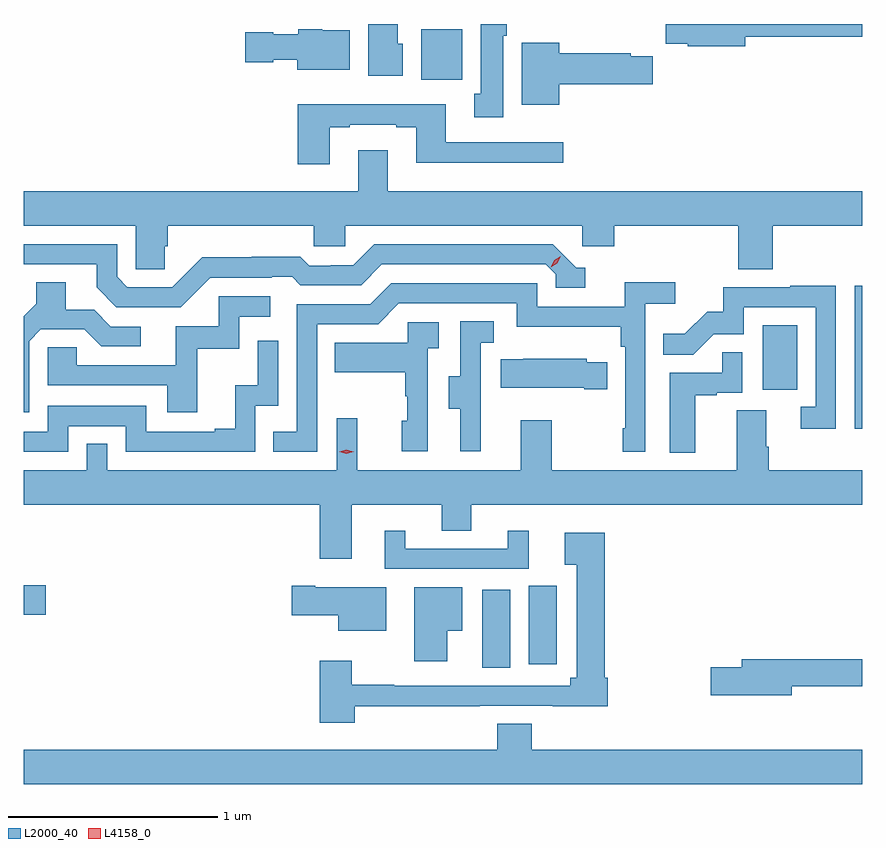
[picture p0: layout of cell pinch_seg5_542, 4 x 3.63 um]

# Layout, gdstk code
import gdstk
lib = gdstk.Library(unit=1e-6, precision=1e-09)
def R(c, l, rs):  # rectangles x0, y0, x1, y1
    for r in rs: c.add(gdstk.rectangle(r[:2], r[2:], *l))
def P(c, l, *ps):  # polygons
    for p in ps: c.add(gdstk.Polygon(p, *l))
L2000_40 = (2000, 40)
L4158_0 = (4158, 0)

pinch_seg5_542 = lib.new_cell('pinch_seg5_542')
R(pinch_seg5_542, L2000_40, [(951.014,842.662,951.148,843.034), (951.236,842.679,951.37,843.054), (948.827,842.915,948.931,843.057), (952.791,843.804,952.827,844.484), (952.352,843.99,952.516,844.297), (950.723,845.468,950.92,845.71)])
P(pinch_seg5_542, L2000_40, [(951.115,845.678),(951.13,845.678),(951.13,845.734),(951.008,845.734),(951.008,845.402),(950.975,845.402),(950.975,845.289),(951.115,845.289)],
  [(950.635,845.64),(950.611,845.64),(950.611,845.734),(950.471,845.734),(950.471,845.486),(950.635,845.486)],
  [(952.27,845.674),(952.827,845.674),(952.827,845.734),(951.889,845.734),(951.889,845.639),(951.994,845.639),(951.994,845.627),(952.27,845.627)],
  [(950.383,845.704),(950.25,845.704),(950.25,845.71),(950.136,845.71),(950.136,845.686),(950.016,845.686),(950.016,845.694),(949.884,845.694),(949.884,845.552),(950.016,845.552),(950.016,845.564),(950.132,845.564),(950.132,845.516),(950.383,845.516)],
  [(951.382,845.447),(951.827,845.447),(951.827,845.581),(951.722,845.581),(951.722,845.594),(951.382,845.594),(951.382,845.644),(951.203,845.644),(951.203,845.348),(951.382,845.348)],
  [(950.287,845.241),(950.383,845.241),(950.383,845.253),(950.603,845.253),(950.603,845.241),(950.699,845.241),(950.699,845.072),(951.4,845.072),(951.4,845.169),(950.839,845.169),(950.839,845.35),(950.135,845.35),(950.135,845.064),(950.287,845.064)],
  [(949.499,844.674),(949.514,844.674),(949.514,844.772),(950.211,844.772),(950.211,844.674),(950.361,844.674),(950.361,844.772),(951.492,844.772),(951.492,844.674),(951.644,844.674),(951.644,844.772),(952.235,844.772),(952.235,844.564),(952.4,844.564),(952.4,844.772),(952.827,844.772),(952.827,844.936),(950.563,844.936),(950.563,845.131),(950.423,845.131),(950.423,844.936),(948.827,844.936),(948.827,844.772),(949.362,844.772),(949.362,844.564),(949.499,844.564)],
  [(949.716,844.524),(950.009,844.524),(950.009,844.527),(950.108,844.527),(950.147,844.488),(950.436,844.488),(950.535,844.587),(951.318,844.587),(951.366,844.539),(951.366,844.476),(951.505,844.476),(951.505,844.572),(951.462,844.572),(951.351,844.683),(950.498,844.683),(950.399,844.584),(950.292,844.584),(950.292,844.581),(950.189,844.581),(950.147,844.624),(949.914,844.624),(949.914,844.621),(949.678,844.621),(949.536,844.479),(949.32,844.479),(949.272,844.527),(949.272,844.683),(948.827,844.683),(948.827,844.587),(949.175,844.587),(949.175,844.477),(949.269,844.383),(949.575,844.383)],
  [(948.852,844.221),(948.909,844.278),(949.115,844.278),(949.196,844.197),(949.384,844.197),(949.384,844.29),(949.242,844.29),(949.162,844.37),(949.027,844.37),(949.027,844.502),(948.887,844.502),(948.887,844.4),(948.827,844.34),(948.827,843.882),(948.852,843.882)],
  [(950.226,844.302),(950.517,844.302),(950.616,844.401),(951.18,844.401),(951.18,844.289),(951.676,844.289),(951.676,844.193),(951.696,844.193),(951.696,843.805),(951.684,843.805),(951.684,843.693),(951.792,843.693),(951.792,844.4),(951.934,844.4),(951.934,844.502),(951.695,844.502),(951.695,844.386),(951.276,844.386),(951.276,844.497),(950.579,844.497),(950.48,844.398),(950.13,844.398),(950.13,843.789),(950.017,843.789),(950.017,843.693),(950.226,843.693)],
  [(952.701,844.484),(952.483,844.484),(952.483,844.479),(952.165,844.479),(952.165,844.362),(952.088,844.362),(951.981,844.255),(951.877,844.255),(951.877,844.156),(952.02,844.156),(952.118,844.254),(952.263,844.254),(952.263,844.383),(952.605,844.383),(952.605,843.909),(952.533,843.909),(952.533,843.804),(952.701,843.804)],
  [(949.655,844.185),(949.854,844.185),(949.854,844.338),(950.002,844.338),(950.002,844.434),(949.758,844.434),(949.758,844.293),(949.553,844.293),(949.553,844.107),(949.079,844.107),(949.079,844.191),(948.942,844.191),(948.942,844.011),(949.511,844.011),(949.511,843.882),(949.655,843.882)],
  [(951.008,843.909),(951.006,843.909),(951.006,844.213),(951.07,844.213),(951.07,844.316),(950.91,844.316),(950.91,844.053),(950.855,844.053),(950.855,843.898),(950.909,843.898),(950.909,843.696),(951.008,843.696)],
  [(950.754,844.187),(950.806,844.187),(950.806,844.311),(950.658,844.311),(950.658,844.213),(950.311,844.213),(950.311,844.073),(950.646,844.073),(950.646,843.959),(950.656,843.959),(950.656,843.84),(950.63,843.84),(950.63,843.696),(950.754,843.696)],
  [(949.038,843.816),(949.314,843.816),(949.314,843.693),(949.932,843.693),(949.932,843.912),(950.04,843.912),(950.04,844.222),(949.944,844.222),(949.944,844.01),(949.835,844.01),(949.835,843.802),(949.739,843.802),(949.739,843.789),(949.41,843.789),(949.41,843.912),(948.942,843.912),(948.942,843.789),(948.827,843.789),(948.827,843.693),(949.038,843.693)],
  [(952.03,843.963),(952.133,843.963),(952.133,843.975),(952.254,843.975),(952.254,844.169),(952.159,844.169),(952.159,844.071),(951.908,844.071),(951.908,843.689),(952.03,843.689)],
  [(951.611,844.12),(951.513,844.12),(951.513,844.138),(951.211,844.138),(951.211,844.135),(951.103,844.135),(951.103,843.998),(951.5,843.998),(951.5,843.991),(951.611,843.991)],
  [(950.392,843.44),(950.822,843.44),(950.822,843.316),(950.962,843.316),(950.962,843.44),(952.827,843.44),(952.827,843.604),(952.382,843.604),(952.382,843.716),(952.369,843.716),(952.369,843.89),(952.229,843.89),(952.229,843.604),(951.345,843.604),(951.345,843.844),(951.197,843.844),(951.197,843.604),(950.417,843.604),(950.417,843.853),(950.319,843.853),(950.319,843.604),(949.224,843.604),(949.224,843.731),(949.128,843.731),(949.128,843.604),(948.827,843.604),(948.827,843.44),(950.24,843.44),(950.24,843.183),(950.392,843.183)],
  [(951.235,843.316),(951.137,843.316),(951.137,843.231),(950.647,843.231),(950.647,843.316),(950.549,843.316),(950.549,843.135),(951.235,843.135)],
  [(950.405,842.48),(951.002,842.48),(951.002,842.481),(951.35,842.481),(951.35,842.48),(951.612,842.48),(951.612,842.616),(951.599,842.616),(951.599,843.307),(951.408,843.307),(951.408,843.155),(951.464,843.155),(951.464,842.616),(951.434,842.616),(951.434,842.577),(950.594,842.577),(950.594,842.582),(950.392,842.582),(950.392,842.695),(950.24,842.695),(950.24,842.4),(950.405,842.4)],
  [(950.557,843.046),(950.218,843.046),(950.218,843.054),(950.106,843.054),(950.106,842.912),(950.327,842.912),(950.327,842.84),(950.557,842.84)],
  [(950.848,842.84),(950.92,842.84),(950.92,843.046),(950.69,843.046),(950.69,842.694),(950.848,842.694)],
  [(952.492,842.574),(952.827,842.574),(952.827,842.702),(952.253,842.702),(952.253,842.666),(952.104,842.666),(952.104,842.531),(952.492,842.531)],
  [(952.827,842.272),(951.251,842.272),(951.251,842.396),(951.086,842.396),(951.086,842.272),(948.827,842.272),(948.827,842.108),(952.827,842.108)])
P(pinch_seg5_542, L4158_0, [(951.341,844.573),(951.341,844.574),(951.358,844.606),(951.389,844.626),(951.389,844.626),(951.389,844.625),(951.372,844.593),(951.341,844.573)],
  [(950.366,843.683),(950.331,843.692),(950.331,843.693),(950.331,843.693),(950.366,843.703),(950.401,843.694),(950.401,843.694),(950.401,843.693)])

lib.write_gds('pinch_seg5_542.gds')
